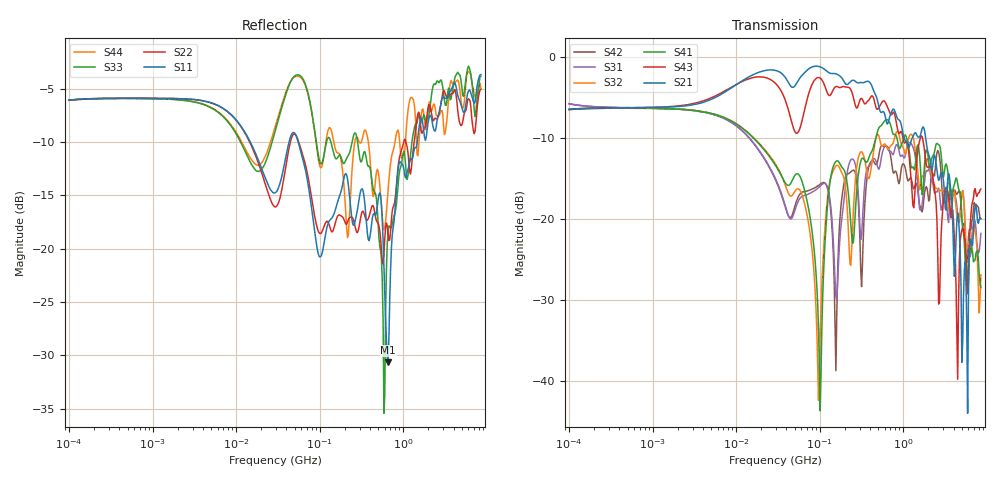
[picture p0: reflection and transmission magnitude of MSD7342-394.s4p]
# MHz S MA R 50
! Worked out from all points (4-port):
!   498 points, 100 kHz to 8.5 GHz, reference 50 ohm
!   strongest paths, dB at 100 kHz, 1.698 MHz, 29.49 MHz, 500.7 MHz, 8.5 GHz:
!     S21: -6.5, -6.2, -1.7, -5.7, -19.9
!     S43: -6.5, -6.1, -3.3, -6.4, -16.3
!     S41: -6.5, -6.4, -13.4, -8.9, -28.4
!     S32: -6.5, -6.4, -13.2, -9.6, -26.9
!     S31: -5.8, -6.4, -15.0, -13.7, -21.8
!     S42: -5.8, -6.4, -15.1, -12.6, -20.0
!   lowest |S11| = -30.7 dB at 658.5 MHz (marker M1), VSWR 1.06, Z = 47.9 + j1.92 ohm
!   |S11| at or under -10 dB: 14.79 MHz to 42.92 MHz (28.13 MHz wide, 97.5 % of centre); 55.29 MHz to 1.472 GHz (1.416 GHz wide, 186 % of centre)
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0.1  0.4978 10.4  0.475 11.8  0.5144 -11.0  0.4735 -169.2
     0.475 11.8  0.4971 10.5  0.4738 -169.2  0.5151 -11.1
     0.5144 -11.0  0.4738 -169.2  0.4973 10.5  0.4753 11.7
     0.4735 -169.2  0.5151 -11.1  0.4753 11.7  0.4977 10.6
55.89621  0.3115 -42.6  0.7213 -1.2  0.1303 177.0  0.1885 26.7
          0.7213 -1.2  0.3179 -35.4  0.1536 22.2  0.1386 176.8
          0.1303 177.0  0.1536 22.2  0.6537 -16.5  0.3466 -2.4
          0.1885 26.7  0.1386 176.8  0.3466 -2.4  0.6438 -19.6
101.2184  0.0916 -32.4  0.8693 -21.7  0.1597 58.7  0.006581 -118.3
          0.8693 -21.7  0.1179 -36.6  0.01868 154.3  0.1642 60.3
          0.1597 58.7  0.01868 154.3  0.2527 -42.4  0.7405 -17.1
          0.006581 -118.3  0.1642 60.3  0.7405 -17.1  0.2417 -43.6
658.5124  0.02934 136.9  0.3926 -117.9  0.2678 -70.2  0.4078 -79.2
          0.3926 -117.9  0.1178 -55.4  0.2711 -73.3  0.2762 -89.0
          0.2678 -70.2  0.2711 -73.3  0.1214 -40.9  0.4801 -128.9
          0.4078 -79.2  0.2762 -89.0  0.4801 -128.9  0.1887 25.5
3488.216  0.5312 -97.4  0.1907 -139.7  0.09532 -112.9  0.1792 -156.2
          0.1907 -139.7  0.5231 -99.3  0.1141 -126.5  0.1334 -153.2
          0.09532 -112.9  0.1141 -126.5  0.5672 -102.9  0.1391 -131.7
          0.1792 -156.2  0.1334 -153.2  0.1391 -131.7  0.5072 -93.5
4693.987  0.5002 113.8  0.08358 44.8  0.1023 78.9  0.1491 38.9
          0.08358 44.8  0.3952 102.9  0.09532 79.9  0.1479 39.9
          0.1023 78.9  0.09532 79.9  0.6568 108.2  0.05562 -166.4
          0.1491 38.9  0.1479 39.9  0.05562 -166.4  0.5821 97.4
8500  0.6561 -60.2  0.1009 31.1  0.08153 -3.4  0.03782 -40.6
      0.1009 31.1  0.5596 -68.8  0.04535 -13.6  0.1004 -90.0
      0.08153 -3.4  0.04535 -13.6  0.6441 -68.0  0.1533 17.0
      0.03782 -40.6  0.1004 -90.0  0.1533 17.0  0.5652 -89.1
